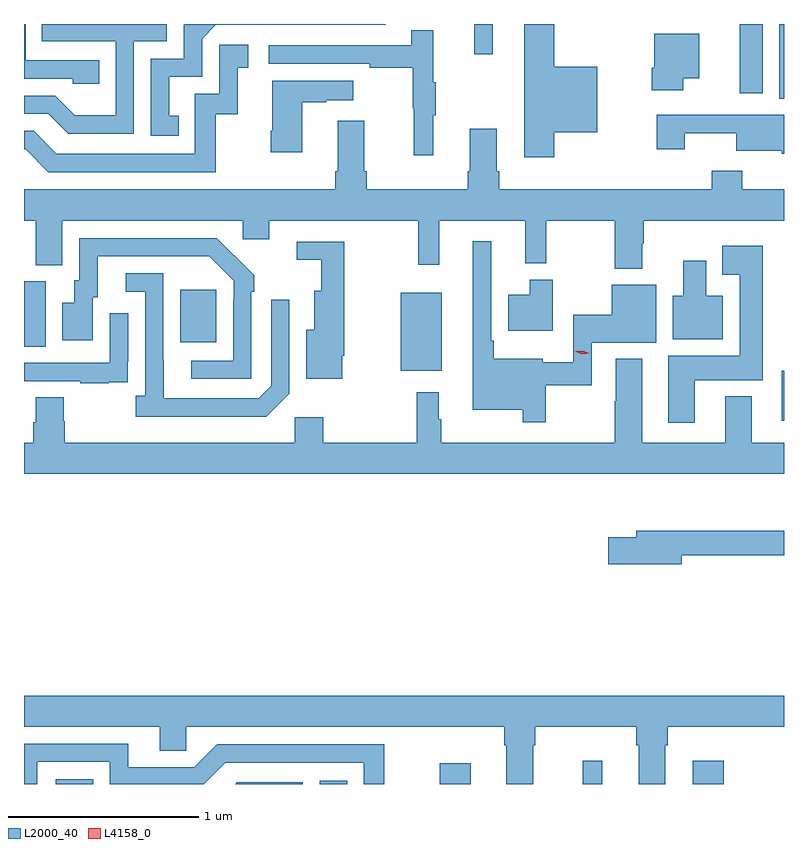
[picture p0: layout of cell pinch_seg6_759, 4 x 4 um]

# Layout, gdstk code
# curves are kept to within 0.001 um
import gdstk
lib = gdstk.Library(unit=1e-6, precision=1e-09)
def R(c, l, rs):  # rectangles x0, y0, x1, y1
    for r in rs: c.add(gdstk.rectangle(r[:2], r[2:], *l))
def P(c, l, *ps):  # polygons
    for p in ps: c.add(gdstk.Polygon(p, *l))
L2000_40 = (2000, 40)
L4158_0 = (4158, 0)

pinch_seg6_759 = lib.new_cell('pinch_seg6_759')
R(pinch_seg6_759, L2000_40, [(326.043,976.339,326.241,976.363), (327.432,976.339,327.578,976.357), (328.063,976.339,328.228,976.447), (328.816,976.339,328.919,976.462), (329.396,976.339,329.56,976.462), (329.864,978.251,329.876,978.514), (327.86,978.515,328.075,978.925), (325.876,978.64,325.99,978.984), (326.699,978.665,326.887,978.94), (329.852,979.946,329.876,980.339), (329.642,979.974,329.764,980.339), (328.245,980.181,328.342,980.339)])
P(pinch_seg6_759, L2000_40, [(326.454,980.247),(326.628,980.247),(326.628,980.339),(325.969,980.339),(325.969,980.247),(326.358,980.247),(326.358,979.858),(326.144,979.858),(326.04,979.962),(325.876,979.962),(325.876,979.866),(326.003,979.866),(326.108,979.761),(326.454,979.761)],
  [(328.667,979.769),(328.894,979.769),(328.894,980.113),(328.667,980.113),(328.667,980.339),(328.508,980.339),(328.508,979.638),(328.667,979.638)],
  [(326.69,979.857),(326.641,979.857),(326.641,980.061),(326.814,980.061),(326.814,980.262),(326.886,980.334),(327.78,980.334),(327.78,980.339),(326.723,980.339),(326.718,980.334),(326.718,980.157),(326.544,980.157),(326.544,979.752),(326.69,979.752)],
  [(326.273,980.148),(325.884,980.148),(325.884,980.339),(325.876,980.339),(325.876,980.052),(326.133,980.052),(326.133,980.025),(326.273,980.025)],
  [(328.031,979.859),(328.042,979.859),(328.042,980.033),(328.031,980.033),(328.031,980.305),(327.913,980.305),(327.913,980.226),(327.165,980.226),(327.165,980.13),(327.697,980.13),(327.697,980.11),(327.921,980.11),(327.921,979.896),(327.928,979.896),(327.928,979.647),(328.031,979.647)],
  [(329.346,980.054),(329.431,980.054),(329.431,980.287),(329.192,980.287),(329.192,980.109),(329.18,980.109),(329.18,979.991),(329.346,979.991)],
  [(326.884,979.863),(327.002,979.863),(327.002,980.109),(327.055,980.109),(327.055,980.23),(326.904,980.23),(326.904,979.971),(326.775,979.971),(326.775,979.656),(326.046,979.656),(325.926,979.776),(325.876,979.776),(325.876,979.68),(325.884,979.68),(326.004,979.56),(326.884,979.56)],
  [(327.34,979.927),(327.467,979.927),(327.467,979.937),(327.61,979.937),(327.61,980.041),(327.182,980.041),(327.182,979.777),(327.175,979.777),(327.175,979.665),(327.34,979.665)],
  [(329.876,979.861),(329.728,979.861),(329.728,979.862),(329.206,979.862),(329.206,979.68),(329.353,979.68),(329.353,979.763),(329.624,979.763),(329.624,979.673),(329.865,979.673),(329.865,979.655),(329.876,979.655)],
  [(327.527,979.831),(327.527,979.564),(327.515,979.564),(327.515,979.468),(325.876,979.468),(325.876,979.304),(325.937,979.304),(325.937,979.069),(326.077,979.069),(326.077,979.304),(327.027,979.304),(327.027,979.206),(327.166,979.206),(327.166,979.304),(327.951,979.304),(327.951,979.071),(328.061,979.071),(328.061,979.304),(328.514,979.304),(328.514,979.079),(328.624,979.079),(328.624,979.304),(328.984,979.304),(328.984,979.052),(329.131,979.052),(329.131,979.184),(329.139,979.184),(329.139,979.304),(329.876,979.304),(329.876,979.468),(329.655,979.468),(329.655,979.567),(329.495,979.567),(329.495,979.468),(328.376,979.468),(328.376,979.564),(328.363,979.564),(328.363,979.789),(328.223,979.789),(328.223,979.564),(328.211,979.564),(328.211,979.468),(327.68,979.468),(327.68,979.564),(327.667,979.564),(327.667,979.831)],
  [(327.072,978.929),(327.087,978.929),(327.087,979.017),(326.89,979.212),(326.166,979.212),(326.166,978.99),(326.141,978.99),(326.141,978.871),(326.078,978.871),(326.078,978.675),(326.239,978.675),(326.239,978.9),(326.263,978.9),(326.263,979.116),(326.851,979.116),(326.979,978.987),(326.979,978.887),(326.976,978.887),(326.976,978.567),(326.757,978.567),(326.757,978.471),(327.072,978.471)],
  [(328.621,978.438),(328.863,978.438),(328.863,978.662),(329.203,978.662),(329.203,978.967),(328.97,978.967),(328.97,978.809),(328.767,978.809),(328.767,978.559),(328.605,978.559),(328.605,978.577),(328.348,978.577),(328.348,978.673),(328.335,978.673),(328.335,979.195),(328.238,979.195),(328.238,978.308),(328.5,978.308),(328.5,978.243),(328.621,978.243)],
  [(327.55,978.594),(327.562,978.594),(327.562,979.194),(327.312,979.194),(327.312,979.097),(327.441,979.097),(327.441,978.934),(327.404,978.934),(327.404,978.73),(327.362,978.73),(327.362,978.473),(327.55,978.473)],
  [(329.407,978.464),(329.764,978.464),(329.764,979.171),(329.552,979.171),(329.552,979.019),(329.642,979.019),(329.642,978.592),(329.267,978.592),(329.267,978.24),(329.407,978.24)],
  [(329.554,978.91),(329.467,978.91),(329.467,979.093),(329.345,979.093),(329.345,978.91),(329.291,978.91),(329.291,978.68),(329.554,978.68)],
  [(327.273,978.393),(327.273,978.889),(327.177,978.889),(327.177,978.435),(327.111,978.369),(326.611,978.369),(326.61,979.026),(326.412,979.026),(326.412,978.93),(326.514,978.93),(326.514,978.382),(326.463,978.382),(326.463,978.272),(327.152,978.272)],
  [(328.66,978.994),(328.538,978.994),(328.538,978.913),(328.424,978.913),(328.424,978.725),(328.66,978.725)],
  [(326.321,978.453),(326.423,978.453),(326.423,978.562),(326.424,978.562),(326.424,978.817),(326.328,978.817),(326.328,978.555),(325.876,978.555),(325.876,978.459),(326.173,978.459),(326.173,978.447),(326.321,978.447)],
  [(329.876,978.136),(329.707,978.136),(329.707,978.379),(329.567,978.379),(329.567,978.136),(329.131,978.136),(329.131,978.577),(328.991,978.577),(328.991,978.353),(328.984,978.353),(328.984,978.136),(328.072,978.136),(328.072,978.26),(328.06,978.26),(328.06,978.4),(327.943,978.4),(327.943,978.136),(327.452,978.136),(327.452,978.268),(327.3,978.268),(327.3,978.136),(326.09,978.136),(326.09,978.249),(326.085,978.249),(326.085,978.374),(325.937,978.374),(325.937,978.242),(325.925,978.242),(325.925,978.136),(325.876,978.136),(325.876,977.972),(329.876,977.972)],
  [(329.338,977.542),(329.876,977.542),(329.876,977.671),(329.099,977.671),(329.099,977.637),(328.95,977.637),(328.95,977.495),(329.338,977.495)],
  [(328.555,976.544),(328.568,976.544),(328.568,976.64),(329.099,976.64),(329.099,976.544),(329.111,976.544),(329.111,976.339),(329.251,976.339),(329.251,976.544),(329.264,976.544),(329.264,976.64),(329.876,976.64),(329.876,976.804),(325.876,976.804),(325.876,976.64),(326.591,976.64),(326.591,976.513),(326.73,976.513),(326.73,976.64),(328.403,976.64),(328.403,976.544),(328.415,976.544),(328.415,976.339),(328.555,976.339)],
  [(325.947,976.455),(326.328,976.455),(326.328,976.339),(326.821,976.339),(326.934,976.452),(327.663,976.452),(327.663,976.339),(327.772,976.339),(327.772,976.548),(326.892,976.548),(326.772,976.428),(326.425,976.428),(326.425,976.551),(325.876,976.551),(325.876,976.339),(325.947,976.339)],
  [(327.342,976.347),(326.996,976.347),(326.988,976.339),(327.342,976.339)])
P(pinch_seg6_759, L4158_0, [(328.814,978.601),(328.78,978.615),(328.78,978.616),(328.78,978.616),(328.817,978.62),(328.851,978.605),(328.851,978.605),(328.851,978.605)])

lib.write_gds('pinch_seg6_759.gds')
